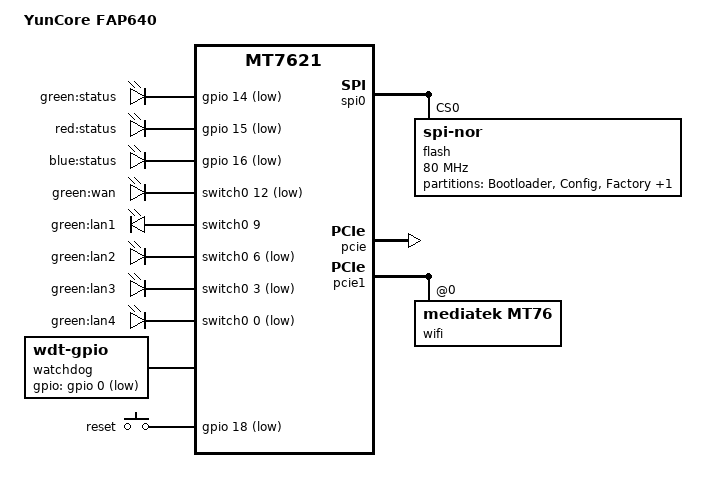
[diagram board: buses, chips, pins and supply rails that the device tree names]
// SPDX-License-Identifier: GPL-2.0-or-later OR MIT

#include "mt7621.dtsi"

#include <dt-bindings/gpio/gpio.h>
#include <dt-bindings/input/input.h>

/ {
	compatible = "yuncore,fap640", "mediatek,mt7621-soc";
	model = "YunCore FAP640";

	aliases {
		led-boot = &led_status_blue;
		led-failsafe = &led_status_red;
		led-running = &led_status_green;
		led-upgrade = &led_status_red;
		label-mac-device = &gmac0;
	};

	chosen {
		bootargs = "console=ttyS0,115200";
	};

	leds {
		compatible = "gpio-leds";

		led_status_green: status_green {
			label = "green:status";
			gpios = <&gpio 14 GPIO_ACTIVE_LOW>;
		};

		led_status_red: status_red {
			label = "red:status";
			gpios = <&gpio 15 GPIO_ACTIVE_LOW>;
		};

		led_status_blue: status_blue {
			label = "blue:status";
			gpios = <&gpio 16 GPIO_ACTIVE_LOW>;
		};

		wan {
			label = "green:wan";
			gpios = <&switch0 12 GPIO_ACTIVE_LOW>;
			linux,default-trigger = "mt7530-0:04:link";
		};

		lan1 {
			label = "green:lan1";
			gpios = <&switch0 9 GPIO_ACTIVE_HIGH>;
			linux,default-trigger = "mt7530-0:03:link";
		};

		lan2 {
			label = "green:lan2";
			gpios = <&switch0 6 GPIO_ACTIVE_LOW>;
			linux,default-trigger = "mt7530-0:02:link";
		};

		lan3 {
			label = "green:lan3";
			gpios = <&switch0 3 GPIO_ACTIVE_LOW>;
			linux,default-trigger = "mt7530-0:01:link";
		};

		lan4 {
			label = "green:lan4";
			gpios = <&switch0 0 GPIO_ACTIVE_LOW>;
			linux,default-trigger = "mt7530-0:00:link";
		};
	};

	watchdog {
		compatible = "linux,wdt-gpio";
		gpios = <&gpio 0 GPIO_ACTIVE_LOW>;
		hw_algo = "toggle";
		hw_margin_ms = <200>;
		always-running;
	};

	keys {
		compatible = "gpio-keys";

		reset {
			label = "reset";
			gpios = <&gpio 18 GPIO_ACTIVE_LOW>;
			linux,code = <KEY_RESTART>;
		};
	};
};

&spi0 {
	status = "okay";

	flash@0 {
		compatible = "jedec,spi-nor";
		reg = <0>;
		spi-max-frequency = <80000000>;
		m25p,fast-read;

		partitions {
			compatible = "fixed-partitions";
			#address-cells = <1>;
			#size-cells = <1>;

			partition@0 {
				label = "Bootloader";
				reg = <0x0 0x30000>;
				read-only;
			};

			partition@30000 {
				label = "Config";
				reg = <0x30000 0x10000>;
				read-only;
			};

			/* range 0x40000 to 0x50000 is empty in vendor
			 * firmware, so we do not use it either
			 */

			factory: partition@50000 {
				label = "Factory";
				reg = <0x50000 0x40000>;
				read-only;
			};

			partition@90000 {
				compatible = "denx,uimage";
				label = "firmware";
				reg = <0x90000 0xf70000>;
			};
		};
	};
};

&pcie {
	status = "okay";
};

&pcie1 {
	wifi@0,0 {
		compatible = "mediatek,mt76";
		reg = <0x0000 0 0 0 0>;
		mediatek,mtd-eeprom = <&factory 0x0>;
		mediatek,disable-radar-background;
	};
};

&gmac0 {
	nvmem-cells = <&macaddr_factory_0004>;
	nvmem-cell-names = "mac-address";
};

&switch0 {
	gpio-controller;
	#gpio-cells = <2>;

	ports {
		port@0 {
			status = "okay";
			label = "lan4";
		};

		port@1 {
			status = "okay";
			label = "lan3";
		};

		port@2 {
			status = "okay";
			label = "lan2";
		};

		port@3 {
			status = "okay";
			label = "lan1";
		};

		port@4 {
			status = "okay";
			label = "wan";
			nvmem-cells = <&macaddr_factory_0004>;
			nvmem-cell-names = "mac-address";
		};
	};
};

&state_default {
	gpio {
		groups = "jtag", "wdt";
		function = "gpio";
	};
};

&factory {
	compatible = "nvmem-cells";
	#address-cells = <1>;
	#size-cells = <1>;

	macaddr_factory_0004: macaddr@0004 {
		reg = <0x0004 0x6>;
	};
};

